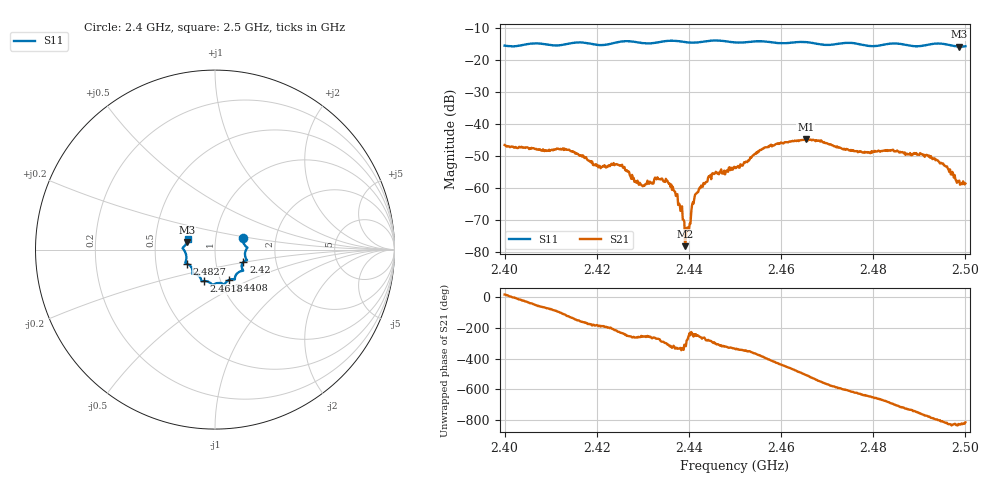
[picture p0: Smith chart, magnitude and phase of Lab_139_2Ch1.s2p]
# Hz S RI R 50
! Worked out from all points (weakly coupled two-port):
!   601 points, 2.4 GHz to 2.5 GHz, reference 50 ohm
!   highest |S21| = -44.79 dB at 2.4653 GHz (marker M1); lowest = -78.3 dB at 2.4392 GHz (marker M2)
!   lowest |S11| = -15.8 dB at 2.4987 GHz (marker M3), VSWR 1.39, Z = 36.4 + j3.17 ohm
!   |S11| at or under -10 dB: start of sweep to end of sweep
!   S12 and S22 are empty: the file has one direction only
!   S11 on the Smith chart (normalised r, x): 2.4 GHz: 1.36, +0.17; 2.42 GHz: 1.36, -0.19; 2.4408 GHz: 1.10, -0.39; 2.4618 GHz: 0.84, -0.30; 2.4827 GHz: 0.72, -0.12; 2.5 GHz: 0.73, +0.09
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2.4e9  0.156 0.0619  0.00443 0.00145  0 0  0 0
2.416667e9  0.178 -0.0594  -0.003 -0.00111  0 0  0 0
2.42e9  0.1579 -0.0693  -0.00219 1.08e-05  0 0  0 0
2.425e9  0.1553 -0.1139  -0.00147 0.00164  0 0  0 0
2.43e9  0.1351 -0.1241  -0.000292 0.00101  0 0  0 0
2.433333e9  0.1118 -0.1521  -6.24e-06 0.00137  0 0  0 0
2.437e9  0.1087 -0.1664  0.000777 0.000371  0 0  0 0
2.439167e9  0.0954 -0.1645  7.96e-05 9.18e-05  0 0  0 0
2.439667e9  0.0906 -0.165  2.53e-05 0.000224  0 0  0 0
2.440833e9  0.0789 -0.1689  -0.000271 0.000523  0 0  0 0
2.441833e9  0.0692 -0.1745  -0.000336 0.000777  0 0  0 0
2.444667e9  0.054 -0.1923  0.000357 0.00154  0 0  0 0
2.45e9  0.0279 -0.1858  0.00191 0.000859  0 0  0 0
2.456333e9  -0.0155 -0.1945  0.0036 -0.00221  0 0  0 0
2.461833e9  -0.0602 -0.175  -0.000843 -0.00522  0 0  0 0
2.465333e9  -0.0756 -0.1746  -0.00472 -0.00331  0 0  0 0
2.466667e9  -0.0768 -0.1684  -0.00526 -0.0016  0 0  0 0
2.482667e9  -0.1571 -0.0777  0.00273 0.00274  0 0  0 0
2.483333e9  -0.1613 -0.0763  0.00304 0.00233  0 0  0 0
2.492e9  -0.1737 -0.00147  0.00165 -0.0026  0 0  0 0
2.498667e9  -0.1559 0.0424  -0.000359 -0.00124  0 0  0 0
2.5e9  -0.152 0.0617  -8.58e-05 -0.00116  0 0  0 0
